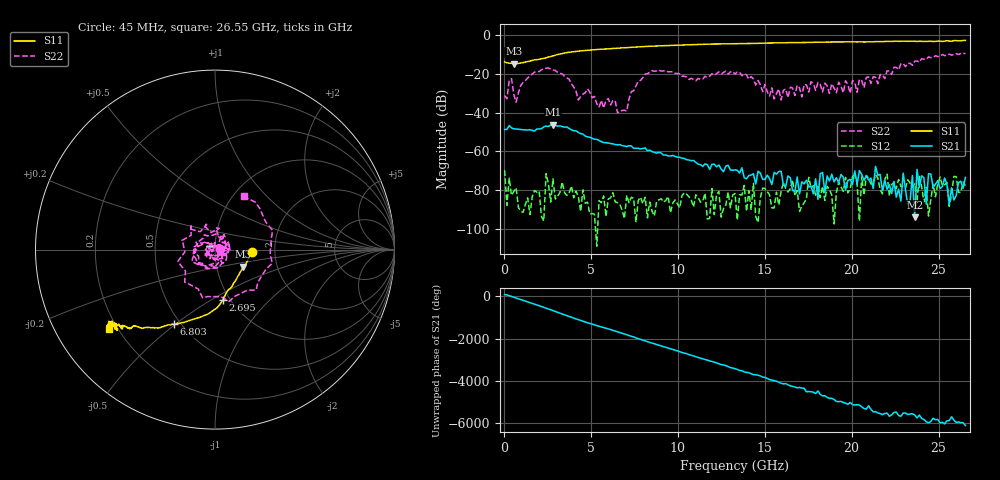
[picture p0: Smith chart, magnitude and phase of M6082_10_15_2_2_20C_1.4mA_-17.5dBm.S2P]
!  2-Port S-parameters saved by WinCal
! VAR MeasName=S-Parameters (CALIBRATED_DATA) read from VNA (C)
! VAR MeasDate=10/16/2015 3:02:39 PM
! VAR NAME=M6082_10_15_2_2_20C_1.4mA_-17.5dBm
! VAR FILENAME=M6082_10_15_2_2_20C_1.4mA_-17.5dBm.S2P
! VAR DATE=10/16/2015 3:02:39 PM
! VAR PHYS_PORTS=2,1
! VAR ObjTypeName=DATASET
! VAR IndexType=Frequency
# Hz S RI R 50
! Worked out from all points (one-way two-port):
!   201 points, 45 MHz to 26.55 GHz, reference 50 ohm
!   highest |S21| = -46.26 dB at 2.828 GHz (marker M1); lowest = -94.2 dB at 23.63 GHz (marker M2)
!   lowest |S11| = -14.7 dB at 575 MHz (marker M3), VSWR 1.45, Z = 67.3 - j13.3 ohm
!   |S11| at or under -10 dB: start of sweep to 3.055 GHz
!   |S22| runs from -40.1 to -9.2 dB; largest |S21 - S12| = 0.005
!   S11 on the Smith chart (normalised r, x): 45 MHz: 1.52, -0.04; 2.695 GHz: 0.92, -0.57; 6.803 GHz: 0.46, -0.49; 26.55 GHz: 0.17, -0.32
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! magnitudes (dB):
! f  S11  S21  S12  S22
! 45 MHz  -13.7  -48.7  -69.8  -31.2
! 442.5 MHz  -14.5  -47.8  -82.8  -22.4
! 575 MHz  -14.7  -48.4  -80.7  -30.6
! 2.43 GHz  -11.6  -46.9  -71.5  -17.0
! 2.695 GHz  -10.9  -46.4  -86.2  -17.4
! 2.828 GHz  -10.6  -46.3  -74.3  -17.9
! 4.55 GHz  -7.9  -51.0  -79.9  -30.4
! 6.803 GHz  -6.4  -57.0  -90.4  -38.9
! 8.922 GHz  -5.4  -60.5  -85.0  -18.0
! 13.29 GHz  -4.3  -69.6  -81.8  -20.1
! 15.95 GHz  -3.8  -70.3  -80.8  -33.4
! 17.8 GHz  -3.6  -82.0  -77.8  -25.0
! 20.18 GHz  -3.4  -70.1  -71.2  -24.5
! 20.45 GHz  -3.3  -69.9  -96.1  -22.7
! 21.25 GHz  -3.4  -79.3  -76.6  -21.4
! 21.38 GHz  -3.2  -67.8  -72.0  -21.7
! 22.17 GHz  -3.1  -77.3  -83.0  -18.4
! 23.63 GHz  -3.1  -94.2  -76.9  -13.3
! 23.76 GHz  -3.1  -69.3  -86.0  -13.3
! 24.29 GHz  -3.2  -87.3  -78.7  -12.5
! 24.43 GHz  -3.0  -71.6  -93.5  -11.1
! 26.55 GHz  -2.6  -73.5  -77.7  -9.5
